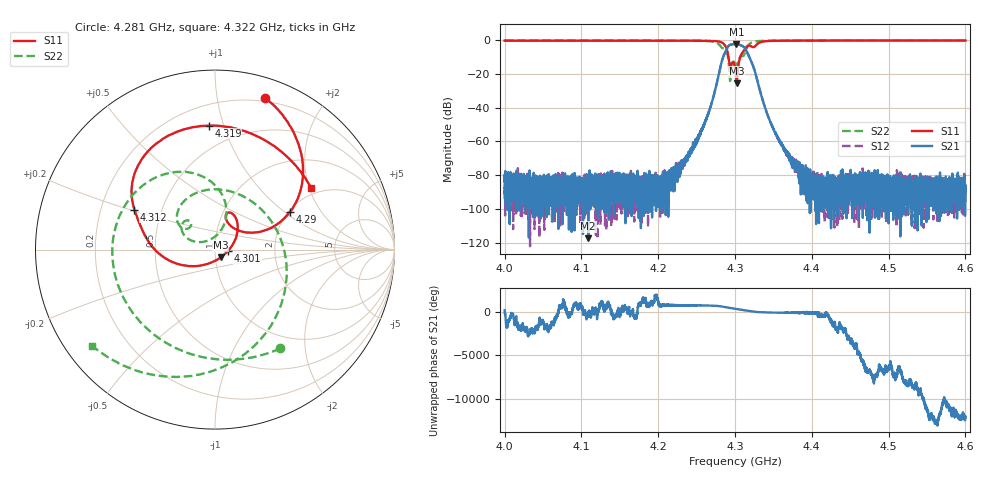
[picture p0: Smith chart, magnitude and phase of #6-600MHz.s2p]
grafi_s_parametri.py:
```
# narise grafe na podlagi S parametrov iz datoteke .S2P HP - VNA utility
# pip install scikit-rf

from skrf import Network
import matplotlib.pyplot as plt
from matplotlib import style

ring_slot = Network('#6-600MHz.s2p')
ring_slot. frequency.unit = 'ghz'
ring_slot.plot_s_db(m=1,n=0, label = 'S21')
ring_slot.plot_s_db(m=0,n=0, label = 'S11')
#ring_slot.plot_s_db(m=0,n=0)

plt.title('Ozkopasovni odziv sita')
plt.axis([4000000000,4600000000,-90,10])
plt.legend(loc='upper right')
plt.grid(visible=True, axis='both', which='both')
plt.xlabel("Frekvenca [GHz]")
plt.ylabel("Amplituda [dB]")
plt.show()
plt.show()
```
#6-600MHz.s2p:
#  HZ  S  DB  R  50.00
! Rohde & Schwarz ZVA67 4Ports - Version 3.30 - 1305.7002k04 SN: 101038
! Date: 2022-07-22 05:32:06
! Measurements: S11 S21 S12 S22
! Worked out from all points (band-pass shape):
!   6246 points, 4 GHz to 4.6 GHz, reference 50 ohm
!   highest |S21| = -2.29 dB at 4.302 GHz (marker M1); lowest = -117.3 dB at 4.109 GHz (marker M2)
!   |S21| within 3 dB of the highest: 4.289 GHz to 4.314 GHz (24.77 MHz wide, 0.576 % of centre)
!   lowest |S11| = -25.4 dB at 4.302 GHz (marker M3), VSWR 1.11, Z = 53.1 - j4.59 ohm
!   |S11| at or under -10 dB: 4.291497 GHz to 4.306752 GHz (15.26 MHz wide, 0.355 % of centre)
!   |S22| runs from -24.2 to -0.1 dB; largest |S21 - S12| = 0.018
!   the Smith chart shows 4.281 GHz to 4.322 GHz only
!   S11 on the Smith chart (normalised r, x): 4.281 GHz: 0.17, +1.37; 4.29 GHz: 2.04, +1.11; 4.301 GHz: 1.16, -0.02; 4.312 GHz: 0.35, +0.21; 4.319 GHz: 0.34, +0.89; 4.322 GHz: 1.78, +2.06
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4e9  -0.27 147.7  -83.92 170.9  -93.97 -115.1  -0.21 147.1
4.108951e9  -0.27 137.5  -117.33 -60.2  -90.25 169.6  -0.21 136.2
4.281313e9  -1.02 71.7  -15.25 -97.7  -15.30 -96.4  -3.61 -56.6
4.290056e9  -6.57 26.8  -4.37 130.5  -4.42 131.7  -8.10 96.0
4.300048e9  -16.51 35.0  -2.36 -18.2  -2.41 -17.0  -13.54 131.7
4.301489e9  -22.70 -5.3  -2.31 -37.7  -2.34 -36.4  -14.50 135.6
4.301777e9  -24.27 -22.5  -2.29 -41.6  -2.34 -40.3  -14.56 137.5
4.302162e9  -25.43 -53.7  -2.31 -46.8  -2.35 -45.5  -14.52 140.1
4.311769e9  -5.99 153.7  -4.09 -179.2  -4.15 -178.0  -8.82 15.5
4.318687e9  -3.20 92.9  -10.02 85.1  -10.06 86.3  -2.23 -115.1
4.322338e9  -3.93 32.7  -13.75 41.7  -13.82 42.9  -1.22 -141.8
4.6e9  -0.18 114.8  -86.64 123.6  -90.68 -67.1  -0.15 115.5
